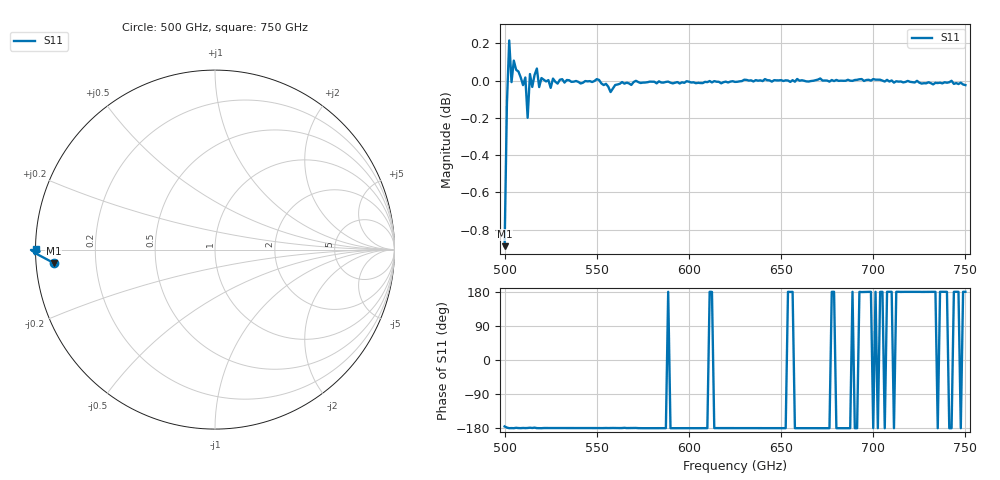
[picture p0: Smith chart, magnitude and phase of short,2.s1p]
!Created with mwavepy.
# GHz S RI R 50.0
!freq	ReS11	ImS11
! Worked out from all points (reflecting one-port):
!   201 points, 500 GHz to 750 GHz, reference 50 ohm
!   lowest |S11| = -0.9 dB at 500 GHz (marker M1), VSWR 19.55, Z = 2.56 - j2.05 ohm
!   phase of S11 starts at -175 deg and turns -5 deg over the sweep
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500  -0.8996 -0.0739
! Port Impedance 50.00000000000000 0.00000000000000
501.25  -0.9852 -0.0286
502.5  -1.025 -0.00178
503.75  -0.999 -0.00515
505  -1.012 -0.00138
506.25  -1.006 -0.0188
508.75  -1.002 -0.00331
511.25  -1.002 -0.00575
512.5  -0.9772 -0.0101
513.75  -1.004 -0.0227
515  -0.996 -0.0107
516.25  -1.003 -0.0265
517.5  -1.007 -0.00375
518.75  -0.996 -0.00161
531.25  -1.001 -0.00893
562.5  -0.998 -0.00599
565  -0.9979 -0.0183
566.25  -0.9987 -0.00628
571.25  -0.9998 -0.0117
573.75  -0.9985 -4.88e-05
593.75  -0.9991 -0.00143
625  -0.9992 -0.00283
656.25  -1 0.00276
687.5  -0.9999 -0.000829
693.75  -1.001 0.0123
700  -1.001 -0.00106
718.75  -0.9998 0.00274
750  -0.9972 0.00108
